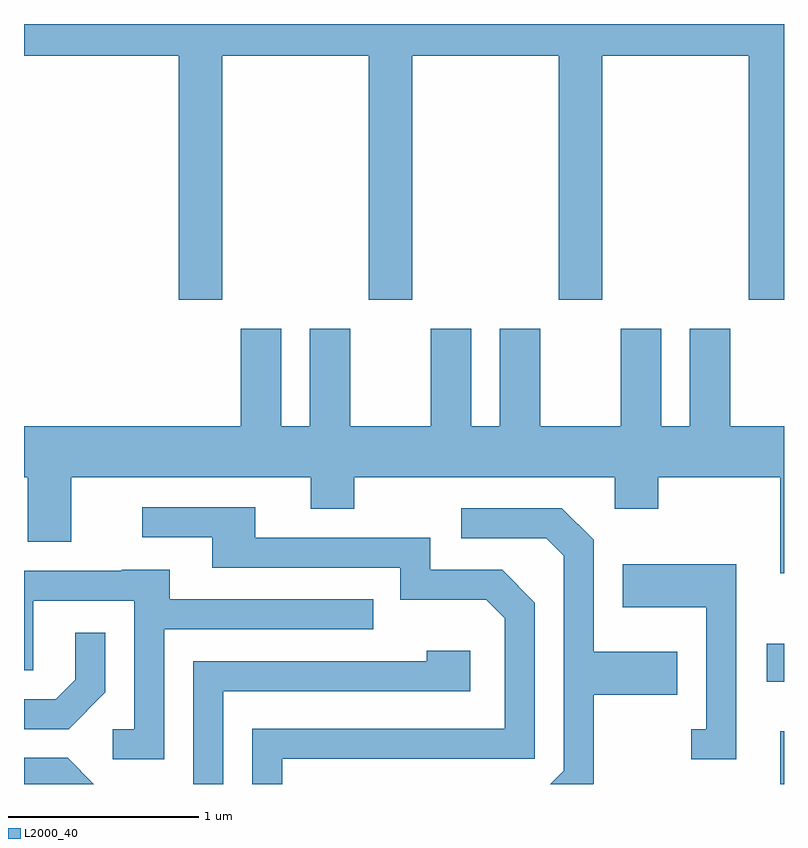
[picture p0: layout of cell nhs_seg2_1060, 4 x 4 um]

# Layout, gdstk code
import gdstk
lib = gdstk.Library(unit=1e-6, precision=1e-09)
def R(c, l, rs):  # rectangles x0, y0, x1, y1
    for r in rs: c.add(gdstk.rectangle(r[:2], r[2:], *l))
def P(c, l, *ps):  # polygons
    for p in ps: c.add(gdstk.Polygon(p, *l))
L2000_40 = (2000, 40)

nhs_seg2_1060 = lib.new_cell('nhs_seg2_1060')
R(nhs_seg2_1060, L2000_40, [(219.591,1057.802,219.611,1058.079), (219.521,1058.341,219.611,1058.539)])
P(nhs_seg2_1060, L2000_40, [(216.654,1061.636),(217.426,1061.636),(217.426,1060.351),(217.654,1060.351),(217.654,1061.636),(218.426,1061.636),(218.426,1060.351),(218.654,1060.351),(218.654,1061.636),(219.426,1061.636),(219.426,1060.351),(219.611,1060.351),(219.611,1061.802),(215.611,1061.802),(215.611,1061.636),(216.426,1061.636),(216.426,1060.351),(216.654,1060.351)],
  [(219.611,1059.684),(219.329,1059.684),(219.329,1060.199),(219.116,1060.199),(219.116,1059.684),(218.964,1059.684),(218.964,1060.199),(218.751,1060.199),(218.751,1059.684),(218.329,1059.684),(218.329,1060.199),(218.116,1060.199),(218.116,1059.684),(217.964,1059.684),(217.964,1060.199),(217.751,1060.199),(217.751,1059.684),(217.329,1059.684),(217.329,1060.199),(217.116,1060.199),(217.116,1059.684),(216.964,1059.684),(216.964,1060.199),(216.751,1060.199),(216.751,1059.684),(215.611,1059.684),(215.611,1059.416),(215.631,1059.416),(215.631,1059.076),(215.859,1059.076),(215.859,1059.416),(217.121,1059.416),(217.121,1059.251),(217.349,1059.251),(217.349,1059.416),(218.721,1059.416),(218.721,1059.251),(218.949,1059.251),(218.949,1059.416),(219.591,1059.416),(219.591,1058.911),(219.611,1058.911)],
  [(216.969,1057.936),(218.299,1057.936),(218.299,1058.757),(218.127,1058.929),(217.749,1058.929),(217.749,1059.099),(216.829,1059.099),(216.829,1059.259),(216.233,1059.259),(216.233,1059.101),(216.601,1059.101),(216.601,1058.941),(217.591,1058.941),(217.591,1058.771),(218.044,1058.771),(218.141,1058.674),(218.141,1058.094),(216.811,1058.094),(216.811,1057.802),(216.969,1057.802)],
  [(218.609,1057.804),(218.609,1058.271),(219.049,1058.271),(219.049,1058.499),(218.609,1058.499),(218.609,1059.087),(218.442,1059.254),(217.913,1059.254),(217.913,1059.096),(218.359,1059.096),(218.451,1059.004),(218.451,1057.872),(218.382,1057.802),(218.607,1057.802)],
  [(219.359,1058.959),(218.761,1058.959),(218.761,1058.731),(219.201,1058.731),(219.201,1058.089),(219.123,1058.089),(219.123,1057.931),(219.359,1057.931)],
  [(216.349,1058.616),(217.448,1058.616),(217.448,1058.774),(216.379,1058.774),(216.379,1058.929),(216.125,1058.929),(216.125,1058.924),(215.611,1058.924),(215.611,1058.401),(215.659,1058.401),(215.659,1058.766),(216.191,1058.766),(216.191,1058.089),(216.078,1058.089),(216.078,1057.931),(216.349,1057.931)],
  [(216.039,1058.284),(216.039,1058.598),(215.881,1058.598),(215.881,1058.352),(215.779,1058.249),(215.611,1058.249),(215.611,1058.091),(215.847,1058.091)],
  [(216.659,1058.291),(217.959,1058.291),(217.959,1058.504),(217.731,1058.504),(217.731,1058.449),(216.501,1058.449),(216.501,1057.802),(216.659,1057.802)],
  [(215.842,1057.939),(215.611,1057.939),(215.611,1057.802),(215.979,1057.802)])

lib.write_gds('nhs_seg2_1060.gds')
